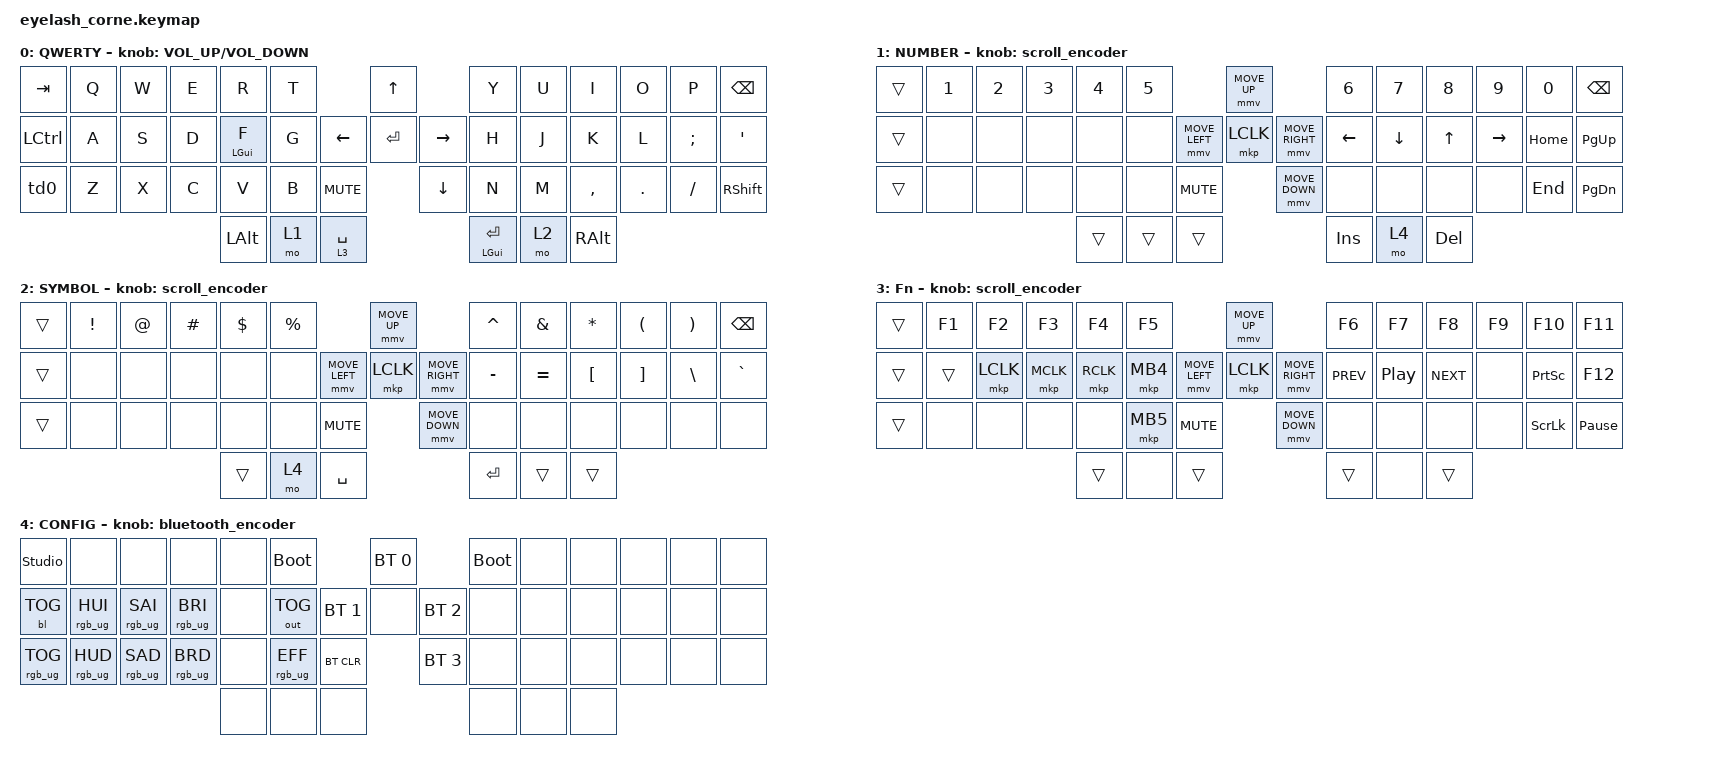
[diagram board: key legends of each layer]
#include <behaviors.dtsi>
#include <dt-bindings/zmk/bt.h>
#include <dt-bindings/zmk/keys.h>
#include <dt-bindings/zmk/pointing.h>
#include <dt-bindings/zmk/outputs.h>
#include <dt-bindings/zmk/rgb.h>
#include <dt-bindings/zmk/backlight.h>

#include <input/processors.dtsi>

#define ZMK_POINTING_DEFAULT_MOVE_VAL 1800  // 600
#define ZMK_POINTING_DEFAULT_SCRL_VAL 20    // 10

/ {
    behaviors {
        td0: td0 {
            compatible = "zmk,behavior-tap-dance";
            display-name = "Shift/Caps Lock Tap Dance";
            #binding-cells = <0>;
            bindings = <&kp LEFT_SHIFT>, <&kp CAPS>;
        };
        ht: holdtap {
            compatible = "zmk,behavior-hold-tap";
            display-name = "Holdtap";
            #binding-cells = <2>;
            tapping-term-ms = <175>;
            quick-tap-ms = <0>;
            flavor = "tap-preferred";
            bindings = <&kp>, <&kp>;
        };
    };

    bluetooth_encoder: bluetooth_encoder {
        compatible = "zmk,behavior-sensor-rotate";
        #sensor-binding-cells = <0>;
        bindings = <&bt BT_PRV>, <&bt BT_NXT>;
    };

    rgb_encoder: rgb_encoder {
        compatible = "zmk,behavior-sensor-rotate";
        #sensor-binding-cells = <0>;
        bindings = <&rgb_ug RGB_BRI>, <&rgb_ug RGB_BRD>;
    };

    scroll_encoder: scroll_encoder {
        compatible = "zmk,behavior-sensor-rotate";
        #sensor-binding-cells = <0>;
        bindings = <&msc SCRL_DOWN>, <&msc SCRL_UP>;
    };

    combos {
        compatible = "zmk,combos";
        combo_esc {
            timeout-ms = <50>;
            key-positions = <23 24>;
            bindings = <&kp ESC>;
            layers = <0>;
        };
        combo_colon {
            timeout-ms = <50>;
            key-positions = <24 25>;
            bindings = <&kp GT>;
            layers = <0>;
        };
    };

    keymap {
        compatible = "zmk,keymap";

        default_layer {
            display-name = "QWERTY";
            bindings = <
&kp TAB    &kp Q  &kp W  &kp E  &kp R  &kp T                              &kp UP                &kp Y           &kp U  &kp I      &kp O    &kp P     &kp BSPC
&kp LCTRL  &kp A  &kp S  &kp D  &ht LGUI F  &kp G               &kp LEFT  &kp ENTER  &kp RIGHT  &kp H           &kp J  &kp K      &kp L    &kp SEMI  &kp SQT
&td0       &kp Z  &kp X  &kp C  &kp V  &kp B       &kp C_MUTE             &kp DOWN              &kp N           &kp M  &kp COMMA  &kp DOT  &kp FSLH  &kp RIGHT_SHIFT
                             &kp LALT  &mo 1  &lt 3 SPACE                                       &ht LGUI ENTER  &mo 2  &kp RALT
            >;
            sensor-bindings = <&inc_dec_kp C_VOLUME_UP C_VOLUME_DOWN>;
        };

        lower_layer {
            display-name = "NUMBER";
            bindings = <
&trans  &kp N1   &kp N2     &kp N3    &kp N4  &kp N5                                           &mmv MOVE_UP                     &kp N6      &kp N7     &kp N8     &kp N9      &kp N0    &kp BSPC
&trans  &none    &none      &none     &none   &none                            &mmv MOVE_LEFT  &mkp LCLK  &mmv MOVE_RIGHT       &kp LEFT    &kp DOWN   &kp UP     &kp RIGHT   &kp HOME  &kp PG_UP
&trans  &none    &none      &none     &none   &none       &kp C_MUTE                           &mmv MOVE_DOWN                   &none       &none      &none      &none       &kp END   &kp PG_DN
                            &trans    &trans  &trans                                                                            &kp INS     &mo 4      &kp DEL
            >;
            sensor-bindings = <&scroll_encoder>;
        };

        raise_layer {
            display-name = "SYMBOL";
            bindings = <
&trans  &kp EXCL      &kp AT        &kp HASH   &kp DLLR   &kp PRCNT                           &mmv MOVE_UP                     &kp CARET  &kp AMPS   &kp ASTRK  &kp LPAR  &kp RPAR  &kp BSPC
&trans  &none         &none         &none      &none      &none               &mmv MOVE_LEFT  &mkp LCLK       &mmv MOVE_RIGHT  &kp MINUS  &kp EQUAL  &kp LBKT   &kp RBKT  &kp BSLH  &kp GRAVE
&trans  &none         &none         &none      &none      &none     &kp C_MUTE                &mmv MOVE_DOWN                   &none      &none      &none      &none     &none     &none
                                    &trans     &mo 4      &kp SPACE                                                            &kp RET    &trans     &trans
            >;
            sensor-bindings = <&scroll_encoder>;
        };

        layer_3 {
            display-name = "Fn";
            bindings = <
&trans  &kp F1      &kp F2      &kp F3       &kp F4     &kp F5                                  &mmv MOVE_UP                     &kp F6       &kp F7            &kp F8       &kp F9      &kp F10          &kp F11
&trans  &trans      &mkp LCLK   &mkp MCLK    &mkp RCLK  &mkp MB4                &mmv MOVE_LEFT  &mkp LCLK       &mmv MOVE_RIGHT  &kp C_PREV   &kp C_PLAY_PAUSE  &kp C_NEXT   &none       &kp PRINTSCREEN  &kp F12
&trans  &none       &none       &none        &none      &mkp MB5  &kp C_MUTE                    &mmv MOVE_DOWN                   &none        &none             &none        &none       &kp SCROLLLOCK   &kp PAUSE_BREAK
                                &trans       &none      &trans                                                                   &trans       &none      &trans
            >;
            sensor-bindings = <&scroll_encoder>;
        };

        layer_4 {
            display-name = "CONFIG";
            bindings = <
&studio_unlock    &none             &none             &none               &none     &bootloader                                  &bt BT_SEL 0                &bootloader  &none   &none   &none   &none   &none
&bl BL_TOG        &rgb_ug RGB_HUI   &rgb_ug RGB_SAI   &rgb_ug RGB_BRI     &none     &out OUT_TOG                   &bt BT_SEL 1  &none        &bt BT_SEL 2   &none        &none   &none   &none   &none   &none
&rgb_ug RGB_TOG   &rgb_ug RGB_HUD   &rgb_ug RGB_SAD   &rgb_ug RGB_BRD     &none     &rgb_ug RGB_EFF  &bt BT_CLR                  &bt BT_SEL 3                &none        &none   &none   &none   &none   &none
                                                      &none               &none     &none                                                                    &none        &none   &none
            >;
            sensor-bindings = <&bluetooth_encoder>;
        };
    };
};
